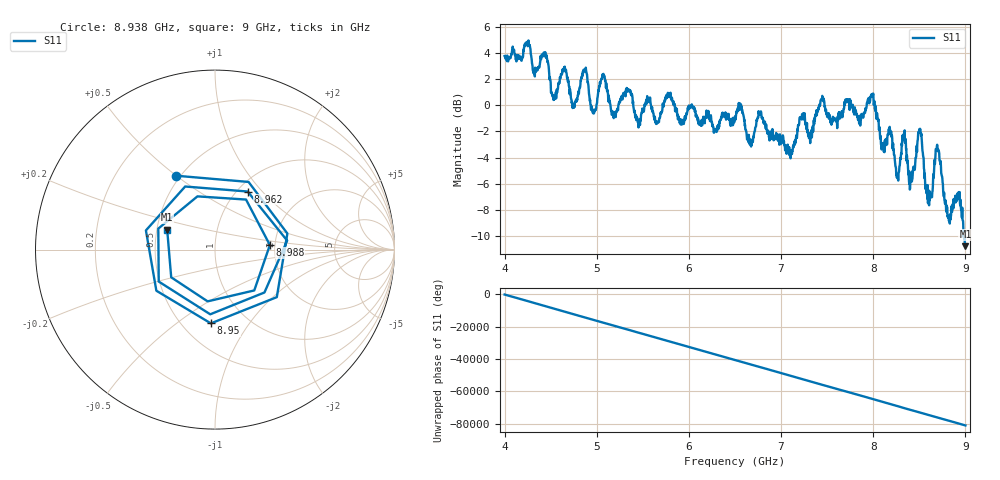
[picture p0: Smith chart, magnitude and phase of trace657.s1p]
! Created with skrf 1.8.0 (http://scikit-rf.org).
# Hz S RI R 50.0
!freq ReS11 ImS11
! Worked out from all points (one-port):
!   1601 points, 4 GHz to 9 GHz, reference 50 ohm
!   lowest |S11| = -10.8 dB at 9 GHz (marker M1), VSWR 1.81, Z = 28.4 + j6.84 ohm
!   |S11| at or under -10 dB: 8.980507 GHz to 8.98176 GHz (1.253 MHz wide, 0.014 % of centre); 8.986187 GHz to end of sweep
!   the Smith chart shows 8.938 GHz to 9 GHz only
!   S11 on the Smith chart (normalised r, x): 8.938 GHz: 0.48, +0.50; 8.95 GHz: 0.68, -0.68; 8.962 GHz: 1.11, +0.84; 8.988 GHz: 1.88, +0.10; 9 GHz: 0.57, +0.14
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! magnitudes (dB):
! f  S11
! 4 GHz  3.8
! 4.438 GHz  3.9
! 4.538 GHz  0.4
! 4.625 GHz  2.5
! 4.747 GHz  -0.2
! 4.869 GHz  2.7
! 4.962 GHz  -0.4
! 5.066 GHz  2.3
! 5.25 GHz  0.3
! 5.875 GHz  -0.8
! 6.5 GHz  -0.8
! 7.125 GHz  -3.5
! 7.441 GHz  0.5
! 7.75 GHz  0.3
! 7.991 GHz  0.9
! 8.097 GHz  -3.2
! 8.262 GHz  -5.5
! 8.334 GHz  -2.5
! 8.375 GHz  -4.5
! 8.506 GHz  -2.0
! 8.6 GHz  -6.5
! 8.697 GHz  -3.2
! 8.812 GHz  -8.6
! 8.938 GHz  -6.6
! 8.95 GHz  -7.7
! 8.962 GHz  -8.6
! 8.988 GHz  -10.3
! 9 GHz  -10.8
